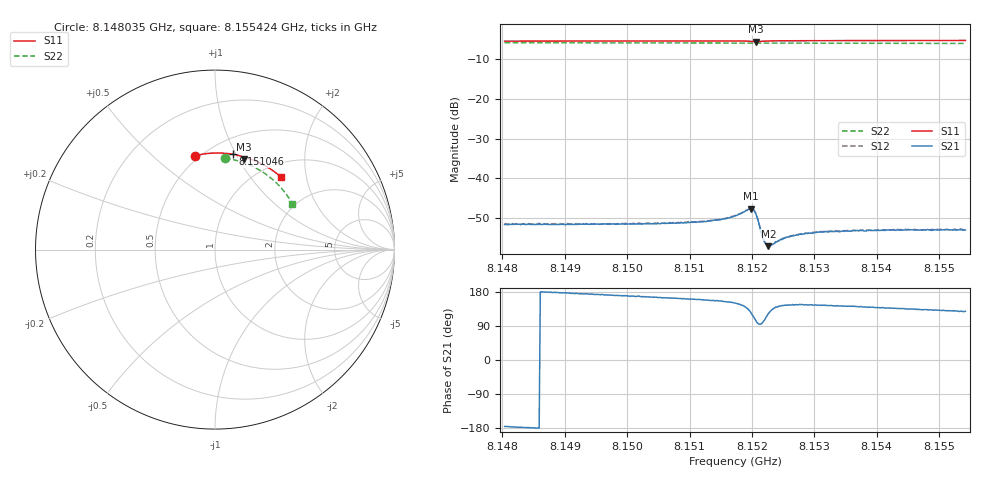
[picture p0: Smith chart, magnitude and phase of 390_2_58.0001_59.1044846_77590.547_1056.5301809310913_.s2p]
#  HZ  S  RI  R  50.00
! Rohde & Schwarz Vector Network Analyzer
! Rohde-Schwarz,ZNB20-2Port,1311601062101988,3.16
! Created: UTC 3/21/2024, 1:07:48 AM
! freq[Hz]  re:S11  im:S11  re:S21  im:S21  re:S12  im:S12  re:S22  im:S22
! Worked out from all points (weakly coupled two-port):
!   401 points, 8.148035 GHz to 8.155424 GHz, reference 50 ohm
!   highest |S21| = -47.67 dB at 8.151988 GHz (marker M1); lowest = -57.1 dB at 8.152265 GHz (marker M2)
!   lowest |S11| = -5.5 dB at 8.152062 GHz (marker M3), VSWR 3.25, Z = 37.7 + j52.7 ohm
!   |S11| at or under -10 dB: nowhere
!   |S22| runs from -6.0 to -5.8 dB; largest |S21 - S12| = 0.00012
!   S11 on the Smith chart (normalised r, x): 8.148035 GHz: 0.47, +0.70; 8.151046 GHz: 0.65, +0.97; 8.155424 GHz: 1.24, +1.43
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8.1480346e9  -0.1094 0.524  -0.00261 -0.000212  -0.0027 -0.000164  0.0562 0.5092
8.1492724e9  -0.0242 0.5369  -0.00262 0.000242  -0.00263 0.000281  0.1348 0.4925
8.1505102e9  0.062 0.536  -0.00257 0.000705  -0.00262 0.000768  0.2092 0.464
8.1510459e9  0.0992 0.5312  -0.00262 0.000925  -0.00265 0.000996  0.2396 0.4481
8.1514709e9  0.129 0.5251  -0.00273 0.00122  -0.00274 0.0013  0.263 0.4343
8.1517295e9  0.1479 0.5195  -0.00291 0.00166  -0.00294 0.0017  0.2767 0.4249
8.1519327e9  0.1624 0.5107  -0.00285 0.00283  -0.00279 0.00286  0.2872 0.4173
8.1519881e9  0.1642 0.5065  -0.00232 0.00343  -0.00231 0.00346  0.2899 0.4151
8.1520251e9  0.1639 0.5041  -0.00168 0.00367  -0.00165 0.00372  0.2915 0.4136
8.152062e9  0.1623 0.5034  -0.000903 0.00349  -0.000836 0.00351  0.2934 0.4123
8.152099e9  0.1618 0.5049  -0.000329 0.00294  -0.000303 0.00296  0.2951 0.411
8.1521544e9  0.1638 0.508  -0.000204 0.00199  -0.000169 0.00205  0.298 0.4092
8.1521913e9  0.1666 0.5094  -0.000376 0.0016  -0.000338 0.00163  0.2999 0.4077
8.1522283e9  0.1698 0.51  -0.000584 0.00136  -0.000591 0.00139  0.3018 0.4064
8.1522652e9  0.1729 0.5101  -0.000752 0.00117  -0.000747 0.00122  0.3036 0.405
8.1523207e9  0.1776 0.5097  -0.000988 0.00107  -0.00097 0.00108  0.3065 0.4028
8.1525608e9  0.1956 0.5053  -0.00147 0.00102  -0.00148 0.00105  0.3182 0.393
8.1527086e9  0.2057 0.5018  -0.0016 0.00107  -0.0016 0.00109  0.3253 0.387
8.1529673e9  0.223 0.4953  -0.00166 0.00115  -0.00169 0.00118  0.3375 0.3758
8.1533183e9  0.2455 0.4852  -0.0017 0.0013  -0.00172 0.0013  0.3533 0.3603
8.154205e9  0.2995 0.4555  -0.00163 0.00153  -0.00162 0.00154  0.3898 0.3182
8.1554243e9  0.3668 0.4053  -0.00139 0.00174  -0.00141 0.00178  0.4313 0.2547
